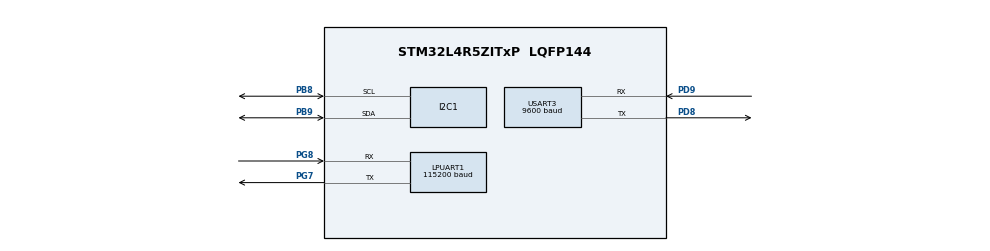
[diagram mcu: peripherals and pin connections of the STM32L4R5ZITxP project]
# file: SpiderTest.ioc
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LPUART1.BaudRate=115200
LPUART1.WordLength=UART_WORDLENGTH_8B
Mcu.Family=STM32L4
Mcu.Name=STM32L4R5ZITxP
Mcu.Package=LQFP144
NVIC.PriorityGroup=NVIC_PRIORITYGROUP_4
NVIC.TIM1_UP_TIM16_IRQn=true\:0\:0\:false\:false\:true\:true\:true\:true
PA0.Signal=S_TIM2_CH1
PA1.Signal=ADCx_IN6
PA10.Signal=USB_OTG_FS_ID
PA13\ (JTMS/SWDIO).Signal=SYS_JTMS-SWDIO
PA14\ (JTCK/SWCLK).Signal=SYS_JTCK-SWCLK
PA3.Signal=ADCx_IN8
PA4.Signal=SPI1_NSS
PA5.Signal=SPI1_SCK
PA6.Signal=SPI1_MISO
PA7.Signal=SPI1_MOSI
PA8.Signal=USB_OTG_FS_SOF
PA9.Signal=USB_OTG_FS_VBUS
PB0.Signal=S_TIM3_CH3
PB1.Signal=ADCx_IN16
PB10.Signal=S_TIM2_CH3
PB12.Signal=SAI2_FS_A
PB13.Signal=SAI2_SCK_A
PB14.Signal=S_TIM15_CH1
PB15.Signal=SAI2_SD_A
PB2.Signal=COMP1_INP
PB3\ (JTDO/TRACESWO).Signal=SPI3_SCK
PB4\ (NJTRST).Signal=SPI3_MISO
PB5.Signal=SPI3_MOSI
PB6.Signal=COMP2_INP
PB8.Mode=I2C
PB8.Signal=I2C1_SCL
PB9.Mode=I2C
PB9.Signal=I2C1_SDA
PC0.Signal=ADCx_IN1
PC1.Signal=ADCx_IN2
PC10.Signal=SDMMC1_D2
PC11.Signal=SDMMC1_D3
PC12.Signal=SDMMC1_CK
PC13.Signal=SYS_WKUP2
PC14-OSC32_IN\ (PC14).Signal=RCC_OSC32_IN
PC15-OSC32_OUT\ (PC15).Signal=RCC_OSC32_OUT
PC2.Signal=ADCx_IN3
PC3.Signal=ADCx_IN4
PC4.Signal=ADCx_IN13
PC5.Signal=ADCx_IN14
PC6.Signal=SAI2_MCLK_A
PC7.Signal=S_TIM3_CH2
PC8.Signal=SDMMC1_D0
PC9.Signal=SDMMC1_D1
PD0.Signal=CAN1_RX
PD14.Signal=S_TIM4_CH3
PD15.Signal=S_TIM4_CH4
PD2.Signal=SDMMC1_CMD
PD3.Signal=USART2_CTS
PD4.Signal=USART2_RTS
PD5.Signal=USART2_TX
PD6.Signal=USART2_RX
PD8.Mode=Asynchronous
PD8.Signal=USART3_TX
PD9.Mode=Asynchronous
PD9.Signal=USART3_RX
PE0.Signal=S_TIM4_ETR
PE10.Signal=TIM1_CH2N
PE11.Signal=S_TIM1_CH2
PE12.Signal=TIM1_CH3N
PE13.Signal=S_TIM1_CH3
PE14.Signal=TIM1_BKIN2
PE15.Signal=TIM1_BKIN
PE2.Signal=SAI1_MCLK_A
PE3.Signal=SAI1_SD_B
PE7.Signal=S_TIM1_ETR
PE8.Signal=TIM1_CH1N
PE9.Signal=S_TIM1_CH1
PF0.Signal=I2C2_SDA
PF1.Signal=I2C2_SCL
PF2.Signal=I2C2_SMBA
PF7.Signal=SAI1_MCLK_B
PG7.Mode=Asynchronous
PG7.Signal=LPUART1_TX
PG8.Mode=Asynchronous
PG8.Signal=LPUART1_RX
PH0-OSC_IN\ (PH0).Mode=HSE-External-Oscillator
PH0-OSC_IN\ (PH0).Signal=RCC_OSC_IN
PH1-OSC_OUT\ (PH1).Mode=HSE-External-Oscillator
PH1-OSC_OUT\ (PH1).Signal=RCC_OSC_OUT
ProjectManager.HeapSize=0x200
ProjectManager.StackSize=0x400
ProjectManager.TargetToolchain=STM32CubeIDE
RCC.HSE_VALUE=8000000
RCC.HSI48_VALUE=48000000
RCC.HSI_VALUE=16000000
RCC.LSE_VALUE=32768
RCC.MSI_VALUE=4000000
RCC.VCOOutputFreq_Value=32000000
SH.ADCx_IN1.0=ADC1_IN1
SH.ADCx_IN13.0=ADC1_IN13
SH.ADCx_IN14.0=ADC1_IN14
SH.ADCx_IN16.0=ADC1_IN16
SH.ADCx_IN2.0=ADC1_IN2
SH.ADCx_IN3.0=ADC1_IN3
SH.ADCx_IN4.0=ADC1_IN4
SH.ADCx_IN6.0=ADC1_IN6
SH.ADCx_IN8.0=ADC1_IN8
SH.S_TIM15_CH1.0=TIM15_CH1
SH.S_TIM1_CH1.0=TIM1_CH1
SH.S_TIM1_CH2.0=TIM1_CH2
SH.S_TIM1_CH3.0=TIM1_CH3
SH.S_TIM1_ETR.0=TIM1_ETR
SH.S_TIM2_CH1.0=TIM2_CH1
SH.S_TIM2_CH3.0=TIM2_CH3
SH.S_TIM3_CH2.0=TIM3_CH2
SH.S_TIM3_CH3.0=TIM3_CH3
SH.S_TIM4_CH3.0=TIM4_CH3
SH.S_TIM4_CH4.0=TIM4_CH4
SH.S_TIM4_ETR.0=TIM4_ETR
TIM16.Period=1000
TIM16.Prescaler=39999
USART3.BaudRate=9600
USART3.FIFOMode=FIFOMODE_ENABLE
USART3.VirtualMode-Asynchronous=VM_ASYNC
VP_TIM16_VS_ClockSourceINT.Mode=Enable_Timer
board=NUCLEO-L4R5ZI-P

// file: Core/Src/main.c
/* USER CODE BEGIN Header */
/**
  ******************************************************************************
  * @file           : main.c
  * @brief          : Main program body
  ******************************************************************************
  * @attention
  *
  * Copyright (c) 2024 STMicroelectronics.
  * All rights reserved.
  *
  * This software is licensed under terms that can be found in the LICENSE file
  * in the root directory of this software component.
  * If no LICENSE file comes with this software, it is provided AS-IS.
  *
  ******************************************************************************
  */
/* USER CODE END Header */
#include "main.h"

/* USER CODE BEGIN Includes */
#include "stdio.h"
#include <Controller.h>

/* USER CODE END Includes */

I2C_HandleTypeDef hi2c1;

UART_HandleTypeDef hlpuart1;
UART_HandleTypeDef huart3;

TIM_HandleTypeDef htim16;

/* USER CODE BEGIN PV *

/* USER CODE END PV */

void SystemClock_Config(void);
static void MX_GPIO_Init(void);
static void MX_I2C1_Init(void);
static void MX_LPUART1_UART_Init(void);
static void MX_USART3_UART_Init(void);
static void MX_TIM16_Init(void);

int main(void)
{

  /* MCU Configuration--------------------------------------------------------*/

  /* Reset of all peripherals, Initializes the Flash interface and the Systick. */
  HAL_Init();

  /* Configure the system clock */
  SystemClock_Config();

  /* Initialize all configured peripherals */
  MX_GPIO_Init();
  MX_I2C1_Init();
  MX_LPUART1_UART_Init();
  MX_USART3_UART_Init();
  MX_TIM16_Init();
  /* USER CODE BEGIN 2 */

  // IMU INIT

  #define SAD_W_A 0x32
  #define SAD_R_A 0x33
  uint8_t OUT_X_H_A = 0x29;
  uint8_t OUT_X_L_A = 0x28;
  uint8_t OUT_Y_H_A=0x2B;
  uint8_t OUT_Y_L_A=0x2A;
  uint8_t OUT_Z_H_A=0x2D;
  uint8_t OUT_Z_L_A=0x2C;
  uint8_t CTRL_REG1_A = 0b0100000;
  uint8_t buf_en[10] = {CTRL_REG1_A, 0x97};

  // IMU INIT END

  // SERVO CONTROLLER INIT

  reset(&hi2c1, PCA1);
  reset(&hi2c1, PCA2);

  setPWMFreq(&hi2c1, PCA1);
  setPWMFreq(&hi2c1, PCA2);
  HAL_TIM_Base_Start_IT(&htim16);

  init(&hi2c1);

  //uint8_t devAddr = PCA1 << 1;

//  printf("\n\n\n\n\n");
//  printf("Test: %d\n", readI2CByte(devAddr, MODE1));
//  printf("Start: %d\n", readI2CByte(devAddr, 0x7));
//  printf("Start: %d\n", readI2CByte(devAddr, 0x8));
//  printf("Start: %d\n", readI2CByte(devAddr, 0x9));

//  writePWMDutyCycle(0, lowerLeg);
//  writePWMDutyCycle(1, lowerLeg);
//  writePWMDutyCycle(2, lowerLeg);
//  writePWMDutyCycle(3, lowerLeg);
//  writePWMDutyCycle(4, lowerLeg);
//  writePWMDutyCycle(5, lowerLeg);
//  writePWMDutyCycle(6, upperLeg);
//  writePWMDutyCycle(7, upperLeg);
//  writePWMDutyCycle(8, upperLeg);
//  writePWMDutyCycle(9, upperLeg + 5.0);
//  writePWMDutyCycle(10, upperLeg + 5.0);
//  writePWMDutyCycle(11, upperLeg + 5.0);
  //writePWMDutyCycle(, lowerLeg);

  //setServoAngle(10, 0);

//  printf("After: %d\n", readI2CByte(devAddr, 0x6));
//    printf("After: %d\n", readI2CByte(devAddr, 0x7));
//    printf("After: %d\n", readI2CByte(devAddr, 0x8));
//    printf("After: %d\n", readI2CByte(devAddr, 0x9));

  /* USER CODE END 2 */

  /* Infinite loop */
  /* USER CODE BEGIN WHILE */

//  float upperDiff = 0;
//  float lowerDiff = 0;

//  uint8_t walkingStage = 0;
//  uint8_t moveOS = 0;

  //float test = -45.0;

  //uint32_t counterVal = 25;

//  uint8_t stop = 0;
//  uint8_t stopCt = 0;

  static int en_reads = 0;
  en_reads = HAL_I2C_Master_Transmit(&hi2c1, SAD_W_A, &buf_en[0], 2, 1000);
  en_reads = HAL_I2C_Master_Transmit(&hi2c1, SAD_W_A, &buf_en[0], 1, 1000);
  en_reads =  HAL_I2C_Master_Receive(&hi2c1, SAD_R_A, &buf_en[0], 1, 1000);

  while (1)
  {
//	uint8_t rx_buff[4] = {0, 0, 0, 0};
//	uint8_t data = 0;

	controllerInput((stop ? 128 : 255) , 128); // PARAMETERS: FORWARD/BACKWARD JOYSTICK, LEFT/RIGHT JOYSTICK
	// NOTE : ONLY THE WALKING FORWARD AND STOPPING CODE IS WRITTEN (KIND OF)

	HAL_Delay(1000);

	uint8_t buf_X_H_A[10] = {OUT_X_H_A};
	en_reads = HAL_I2C_Master_Transmit(&hi2c1, SAD_W_A, &buf_X_H_A[0], 1, 1000);
	en_reads =  HAL_I2C_Master_Receive(&hi2c1, SAD_R_A, &buf_X_H_A[0], 1, 1000);

	uint8_t buf_X_L_A[10] = {OUT_X_L_A};
	en_reads = HAL_I2C_Master_Transmit(&hi2c1, SAD_W_A, &buf_X_L_A[0], 1, 1000);
	en_reads =  HAL_I2C_Master_Receive(&hi2c1, SAD_R_A, &buf_X_L_A[0], 1, 1000);

	uint8_t buf_Y_H_A[10] = {OUT_Y_H_A};
	en_reads = HAL_I2C_Master_Transmit(&hi2c1, SAD_W_A, &buf_Y_H_A[0], 1, 1000);
	en_reads =  HAL_I2C_Master_Receive(&hi2c1, SAD_R_A, &buf_Y_H_A[0], 1, 1000);

	uint8_t buf_Y_L_A[10] = {OUT_Y_L_A};
	en_reads = HAL_I2C_Master_Transmit(&hi2c1, SAD_W_A, &buf_Y_L_A[0], 1, 1000);
	en_reads =  HAL_I2C_Master_Receive(&hi2c1, SAD_R_A, &buf_Y_L_A[0], 1, 1000);

	uint8_t buf_Z_H_A[10] = {OUT_Z_H_A};
	en_reads = HAL_I2C_Master_Transmit(&hi2c1, SAD_W_A, &buf_Z_H_A[0], 1, 1000);
	en_reads =  HAL_I2C_Master_Receive(&hi2c1, SAD_R_A, &buf_Z_H_A[0], 1, 1000);

	uint8_t buf_Z_L_A[10] = {OUT_Z_L_A};
	en_reads = HAL_I2C_Master_Transmit(&hi2c1, SAD_W_A, &buf_Z_L_A[0], 1, 1000);
	en_reads =  HAL_I2C_Master_Receive(&hi2c1, SAD_R_A, &buf_Z_L_A[0], 1, 1000);

	int16_t zRaw = (buf_Z_H_A[0] << 8) | buf_Z_L_A[0];

	uint8_t buffer[2] = {buf_Z_H_A[0], buf_Z_L_A[0]};
	HAL_UART_Transmit(&huart3, &buffer, 2, 1000);

	printf("z axis raw: %d z axis scaled: %f g\n\n", zRaw, (float)zRaw/0x4000);

// TESTING CODE
//	stopCt++;
//
//	if(stopCt > 100)
//	{
//		if(!stop)
//			stop = 1;
//		else
//			stop = 0;
//
//		stopCt = 0;
//	}

	// PAIRS: 12|15, 13|16, 14|17

	// FIRST TRY AT TRIPOD GAIT. MAYBE RETRY LATER

	/*if(walkingStage == 0)
	{
		if(!moveOS)
		{
			// Lifted Leg Hip
			setServoAngle(15, 0.0);
			setServoAngle(13, -20.0);
			setServoAngle(17, 30.0);

			// Dropped Leg Hip
			setServoAngle(12, 0.0);
			setServoAngle(16, -20.0);
			setServoAngle(14, 30.0);

			TIM16->CNT = 0;
			moveOS = 1;
		}

		if(TIM16->CNT > 15)
		{
			// Drop Legs
			setServoAngle(7, -30.0);
			setServoAngle(9, 30.0);
			setServoAngle(11, 30.0);

			setServoAngle(1, 0.0);
			setServoAngle(3, 0.0);
			setServoAngle(5, 0.0);
		}
		else
		{
			// Lift Legs
			setServoAngle(7, 0.0);
			setServoAngle(9, 0.0);
			setServoAngle(11, 0.0);

			setServoAngle(1, 30.0);
			setServoAngle(3, -30.0);
			setServoAngle(5, -30.0);
		}

		if(TIM16->CNT > 30)
		{
			moveOS = 0;
			walkingStage = 1;
		}
	}
	else
	{
		if(!moveOS)
			{
				// Dropped Leg Hip
				setServoAngle(15, -30.0);
				setServoAngle(13, 20.0);
				setServoAngle(17, 0.0);

				// Lifted Leg Hip
				setServoAngle(12, -30.0);
				setServoAngle(16, 20.0);
				setServoAngle(14, 0.0);

				TIM16->CNT = 0;
				moveOS = 1;
			}

			if(TIM16->CNT > 15)
			{
				// Drop Legs
				setServoAngle(6, -30.0);
				setServoAngle(8, -30.0);
				setServoAngle(10, 30.0);

				setServoAngle(0, 0.0);
				setServoAngle(2, 0.0);
				setServoAngle(4, 0.0);
			}
			else
			{
				// Lift Legs
				setServoAngle(6, 0.0);
				setServoAngle(8, 0.0);
				setServoAngle(10, 0.0);

				setServoAngle(0, 30.0);
				setServoAngle(2, 30.0);
				setServoAngle(4, -30.0);
			}

			if(TIM16->CNT > 30)
			{
				moveOS = 0;
				walkingStage = 0;
			}
	}*/
    /* USER CODE END WHILE */

  }
}

void SystemClock_Config(void)
{
  RCC_OscInitTypeDef RCC_OscInitStruct = {0};
  RCC_ClkInitTypeDef RCC_ClkInitStruct = {0};

  /** Configure the main internal regulator output voltage
  */
  if (HAL_PWREx_ControlVoltageScaling(PWR_REGULATOR_VOLTAGE_SCALE1) != HAL_OK)
  {
    Error_Handler();
  }

  /** Initializes the RCC Oscillators according to the specified parameters
  * in the RCC_OscInitTypeDef structure.
  */
  RCC_OscInitStruct.OscillatorType = RCC_OSCILLATORTYPE_MSI;
  RCC_OscInitStruct.MSIState = RCC_MSI_ON;
  RCC_OscInitStruct.MSICalibrationValue = 0;
  RCC_OscInitStruct.MSIClockRange = RCC_MSIRANGE_6;
  RCC_OscInitStruct.PLL.PLLState = RCC_PLL_NONE;
  if (HAL_RCC_OscConfig(&RCC_OscInitStruct) != HAL_OK)
  {
    Error_Handler();
  }

  /** Initializes the CPU, AHB and APB buses clocks
  */
  RCC_ClkInitStruct.ClockType = RCC_CLOCKTYPE_HCLK|RCC_CLOCKTYPE_SYSCLK
                              |RCC_CLOCKTYPE_PCLK1|RCC_CLOCKTYPE_PCLK2;
  RCC_ClkInitStruct.SYSCLKSource = RCC_SYSCLKSOURCE_MSI;
  RCC_ClkInitStruct.AHBCLKDivider = RCC_SYSCLK_DIV1;
  RCC_ClkInitStruct.APB1CLKDivider = RCC_HCLK_DIV1;
  RCC_ClkInitStruct.APB2CLKDivider = RCC_HCLK_DIV1;

  if (HAL_RCC_ClockConfig(&RCC_ClkInitStruct, FLASH_LATENCY_0) != HAL_OK)
  {
    Error_Handler();
  }
}

static void MX_I2C1_Init(void)
{

  hi2c1.Instance = I2C1;
  hi2c1.Init.Timing = 0x00000E14;
  hi2c1.Init.OwnAddress1 = 0;
  hi2c1.Init.AddressingMode = I2C_ADDRESSINGMODE_7BIT;
  hi2c1.Init.DualAddressMode = I2C_DUALADDRESS_DISABLE;
  hi2c1.Init.OwnAddress2 = 0;
  hi2c1.Init.OwnAddress2Masks = I2C_OA2_NOMASK;
  hi2c1.Init.GeneralCallMode = I2C_GENERALCALL_DISABLE;
  hi2c1.Init.NoStretchMode = I2C_NOSTRETCH_DISABLE;
  if (HAL_I2C_Init(&hi2c1) != HAL_OK)
  {
    Error_Handler();
  }

  /** Configure Analogue filter
  */
  if (HAL_I2CEx_ConfigAnalogFilter(&hi2c1, I2C_ANALOGFILTER_ENABLE) != HAL_OK)
  {
    Error_Handler();
  }

  /** Configure Digital filter
  */
  if (HAL_I2CEx_ConfigDigitalFilter(&hi2c1, 0) != HAL_OK)
  {
    Error_Handler();
  }

}

static void MX_LPUART1_UART_Init(void)
{

  hlpuart1.Instance = LPUART1;
  hlpuart1.Init.BaudRate = 115200;
  hlpuart1.Init.WordLength = UART_WORDLENGTH_8B;
  hlpuart1.Init.StopBits = UART_STOPBITS_1;
  hlpuart1.Init.Parity = UART_PARITY_NONE;
  hlpuart1.Init.Mode = UART_MODE_TX_RX;
  hlpuart1.Init.HwFlowCtl = UART_HWCONTROL_NONE;
  hlpuart1.Init.OneBitSampling = UART_ONE_BIT_SAMPLE_DISABLE;
  hlpuart1.Init.ClockPrescaler = UART_PRESCALER_DIV1;
  hlpuart1.AdvancedInit.AdvFeatureInit = UART_ADVFEATURE_NO_INIT;
  hlpuart1.FifoMode = UART_FIFOMODE_DISABLE;
  if (HAL_UART_Init(&hlpuart1) != HAL_OK)
  {
    Error_Handler();
  }
  if (HAL_UARTEx_SetTxFifoThreshold(&hlpuart1, UART_TXFIFO_THRESHOLD_1_8) != HAL_OK)
  {
    Error_Handler();
  }
  if (HAL_UARTEx_SetRxFifoThreshold(&hlpuart1, UART_RXFIFO_THRESHOLD_1_8) != HAL_OK)
  {
    Error_Handler();
  }
  if (HAL_UARTEx_DisableFifoMode(&hlpuart1) != HAL_OK)
  {
    Error_Handler();
  }

}

static void MX_USART3_UART_Init(void)
{

  huart3.Instance = USART3;
  huart3.Init.BaudRate = 9600;
  huart3.Init.WordLength = UART_WORDLENGTH_8B;
  huart3.Init.StopBits = UART_STOPBITS_1;
  huart3.Init.Parity = UART_PARITY_NONE;
  huart3.Init.Mode = UART_MODE_TX_RX;
  huart3.Init.HwFlowCtl = UART_HWCONTROL_NONE;
  huart3.Init.OverSampling = UART_OVERSAMPLING_16;
  huart3.Init.OneBitSampling = UART_ONE_BIT_SAMPLE_DISABLE;
  huart3.Init.ClockPrescaler = UART_PRESCALER_DIV1;
  huart3.AdvancedInit.AdvFeatureInit = UART_ADVFEATURE_NO_INIT;
  if (HAL_UART_Init(&huart3) != HAL_OK)
  {
    Error_Handler();
  }
  if (HAL_UARTEx_SetTxFifoThreshold(&huart3, UART_TXFIFO_THRESHOLD_1_8) != HAL_OK)
  {
    Error_Handler();
  }
  if (HAL_UARTEx_SetRxFifoThreshold(&huart3, UART_RXFIFO_THRESHOLD_1_8) != HAL_OK)
  {
    Error_Handler();
  }
  if (HAL_UARTEx_EnableFifoMode(&huart3) != HAL_OK)
  {
    Error_Handler();
  }

}

static void MX_TIM16_Init(void)
{

  htim16.Instance = TIM16;
  htim16.Init.Prescaler = 39999;
  htim16.Init.CounterMode = TIM_COUNTERMODE_UP;
  htim16.Init.Period = 1000;
  htim16.Init.ClockDivision = TIM_CLOCKDIVISION_DIV1;
  htim16.Init.RepetitionCounter = 0;
  htim16.Init.AutoReloadPreload = TIM_AUTORELOAD_PRELOAD_DISABLE;
  if (HAL_TIM_Base_Init(&htim16) != HAL_OK)
  {
    Error_Handler();
  }

}

static void MX_GPIO_Init(void)
{
  GPIO_InitTypeDef GPIO_InitStruct = {0};

  /* GPIO Ports Clock Enable */
  __HAL_RCC_GPIOE_CLK_ENABLE();
  __HAL_RCC_GPIOC_CLK_ENABLE();
  __HAL_RCC_GPIOF_CLK_ENABLE();
  __HAL_RCC_GPIOH_CLK_ENABLE();
  __HAL_RCC_GPIOA_CLK_ENABLE();
  __HAL_RCC_GPIOB_CLK_ENABLE();
  __HAL_RCC_GPIOD_CLK_ENABLE();
  __HAL_RCC_GPIOG_CLK_ENABLE();
  HAL_PWREx_EnableVddIO2();

  /*Configure GPIO pins : PE2 PE3 */
  GPIO_InitStruct.Pin = GPIO_PIN_2|GPIO_PIN_3;
  GPIO_InitStruct.Mode = GPIO_MODE_AF_PP;
  GPIO_InitStruct.Pull = GPIO_NOPULL;
  GPIO_InitStruct.Speed = GPIO_SPEED_FREQ_LOW;
  GPIO_InitStruct.Alternate = GPIO_AF13_SAI1;
  HAL_GPIO_Init(GPIOE, &GPIO_InitStruct);

  /*Configure GPIO pins : PF0 PF1 PF2 */
  GPIO_InitStruct.Pin = GPIO_PIN_0|GPIO_PIN_1|GPIO_PIN_2;
  GPIO_InitStruct.Mode = GPIO_MODE_AF_OD;
  GPIO_InitStruct.Pull = GPIO_NOPULL;
  GPIO_InitStruct.Speed = GPIO_SPEED_FREQ_VERY_HIGH;
  GPIO_InitStruct.Alternate = GPIO_AF4_I2C2;
  HAL_GPIO_Init(GPIOF, &GPIO_InitStruct);

  /*Configure GPIO pin : PF7 */
  GPIO_InitStruct.Pin = GPIO_PIN_7;
  GPIO_InitStruct.Mode = GPIO_MODE_AF_PP;
  GPIO_InitStruct.Pull = GPIO_NOPULL;
  GPIO_InitStruct.Speed = GPIO_SPEED_FREQ_LOW;
  GPIO_InitStruct.Alternate = GPIO_AF13_SAI1;
  HAL_GPIO_Init(GPIOF, &GPIO_InitStruct);

  /*Configure GPIO pins : PC0 PC1 PC2 PC3
                           PC4 PC5 */
  GPIO_InitStruct.Pin = GPIO_PIN_0|GPIO_PIN_1|GPIO_PIN_2|GPIO_PIN_3
                          |GPIO_PIN_4|GPIO_PIN_5;
  GPIO_InitStruct.Mode = GPIO_MODE_ANALOG_ADC_CONTROL;
  GPIO_InitStruct.Pull = GPIO_NOPULL;
  HAL_GPIO_Init(GPIOC, &GPIO_InitStruct);

  /*Configure GPIO pin : PA0 */
  GPIO_InitStruct.Pin = GPIO_PIN_0;
  GPIO_InitStruct.Mode = GPIO_MODE_AF_PP;
  GPIO_InitStruct.Pull = GPIO_NOPULL;
  GPIO_InitStruct.Speed = GPIO_SPEED_FREQ_LOW;
  GPIO_InitStruct.Alternate = GPIO_AF1_TIM2;
  HAL_GPIO_Init(GPIOA, &GPIO_InitStruct);

  /*Configure GPIO pins : PA1 PA3 */
  GPIO_InitStruct.Pin = GPIO_PIN_1|GPIO_PIN_3;
  GPIO_InitStruct.Mode = GPIO_MODE_ANALOG_ADC_CONTROL;
  GPIO_InitStruct.Pull = GPIO_NOPULL;
  HAL_GPIO_Init(GPIOA, &GPIO_InitStruct);

  /*Configure GPIO pins : PA4 PA5 PA6 PA7 */
  GPIO_InitStruct.Pin = GPIO_PIN_4|GPIO_PIN_5|GPIO_PIN_6|GPIO_PIN_7;
  GPIO_InitStruct.Mode = GPIO_MODE_AF_PP;
  GPIO_InitStruct.Pull = GPIO_NOPULL;
  GPIO_InitStruct.Speed = GPIO_SPEED_FREQ_VERY_HIGH;
  GPIO_InitStruct.Alternate = GPIO_AF5_SPI1;
  HAL_GPIO_Init(GPIOA, &GPIO_InitStruct);

  /*Configure GPIO pin : PB0 */
  GPIO_InitStruct.Pin = GPIO_PIN_0;
  GPIO_InitStruct.Mode = GPIO_MODE_AF_PP;
  GPIO_InitStruct.Pull = GPIO_NOPULL;
  GPIO_InitStruct.Speed = GPIO_SPEED_FREQ_LOW;
  GPIO_InitStruct.Alternate = GPIO_AF2_TIM3;
  HAL_GPIO_Init(GPIOB, &GPIO_InitStruct);

  /*Configure GPIO pin : PB1 */
  GPIO_InitStruct.Pin = GPIO_PIN_1;
  GPIO_InitStruct.Mode = GPIO_MODE_ANALOG_ADC_CONTROL;
  GPIO_InitStruct.Pull = GPIO_NOPULL;
  HAL_GPIO_Init(GPIOB, &GPIO_InitStruct);

  /*Configure GPIO pins : PB2 PB6 */
  GPIO_InitStruct.Pin = GPIO_PIN_2|GPIO_PIN_6;
  GPIO_InitStruct.Mode = GPIO_MODE_ANALOG;
  GPIO_InitStruct.Pull = GPIO_NOPULL;
  HAL_GPIO_Init(GPIOB, &GPIO_InitStruct);

  /*Configure GPIO pins : PE7 PE8 PE9 PE10
                           PE11 PE12 PE13 */
  GPIO_InitStruct.Pin = GPIO_PIN_7|GPIO_PIN_8|GPIO_PIN_9|GPIO_PIN_10
                          |GPIO_PIN_11|GPIO_PIN_12|GPIO_PIN_13;
  GPIO_InitStruct.Mode = GPIO_MODE_AF_PP;
  GPIO_InitStruct.Pull = GPIO_NOPULL;
  GPIO_InitStruct.Speed = GPIO_SPEED_FREQ_LOW;
  GPIO_InitStruct.Alternate = GPIO_AF1_TIM1;
  HAL_GPIO_Init(GPIOE, &GPIO_InitStruct);

  /*Configure GPIO pins : PE14 PE15 */
  GPIO_InitStruct.Pin = GPIO_PIN_14|GPIO_PIN_15;
  GPIO_InitStruct.Mode = GPIO_MODE_AF_PP;
  GPIO_InitStruct.Pull = GPIO_NOPULL;
  GPIO_InitStruct.Speed = GPIO_SPEED_FREQ_LOW;
  GPIO_InitStruct.Alternate = GPIO_AF3_TIM1_COMP1;
  HAL_GPIO_Init(GPIOE, &GPIO_InitStruct);

  /*Configure GPIO pin : PB10 */
  GPIO_InitStruct.Pin = GPIO_PIN_10;
  GPIO_InitStruct.Mode = GPIO_MODE_AF_PP;
  GPIO_InitStruct.Pull = GPIO_NOPULL;
  GPIO_InitStruct.Speed = GPIO_SPEED_FREQ_LOW;
  GPIO_InitStruct.Alternate = GPIO_AF1_TIM2;
  HAL_GPIO_Init(GPIOB, &GPIO_InitStruct);

  /*Configure GPIO pins : PB12 PB13 PB15 */
  GPIO_InitStruct.Pin = GPIO_PIN_12|GPIO_PIN_13|GPIO_PIN_15;
  GPIO_InitStruct.Mode = GPIO_MODE_AF_PP;
  GPIO_InitStruct.Pull = GPIO_NOPULL;
  GPIO_InitStruct.Speed = GPIO_SPEED_FREQ_LOW;
  GPIO_InitStruct.Alternate = GPIO_AF13_SAI2;
  HAL_GPIO_Init(GPIOB, &GPIO_InitStruct);

  /*Configure GPIO pin : PB14 */
  GPIO_InitStruct.Pin = GPIO_PIN_14;
  GPIO_InitStruct.Mode = GPIO_MODE_AF_PP;
  GPIO_InitStruct.Pull = GPIO_NOPULL;
  GPIO_InitStruct.Speed = GPIO_SPEED_FREQ_LOW;
  GPIO_InitStruct.Alternate = GPIO_AF14_TIM15;
  HAL_GPIO_Init(GPIOB, &GPIO_InitStruct);

  /*Configure GPIO pins : PD14 PD15 */
  GPIO_InitStruct.Pin = GPIO_PIN_14|GPIO_PIN_15;
  GPIO_InitStruct.Mode = GPIO_MODE_AF_PP;
  GPIO_InitStruct.Pull = GPIO_NOPULL;
  GPIO_InitStruct.Speed = GPIO_SPEED_FREQ_LOW;
  GPIO_InitStruct.Alternate = GPIO_AF2_TIM4;
  HAL_GPIO_Init(GPIOD, &GPIO_InitStruct);

  /*Configure GPIO pin : PC6 */
  GPIO_InitStruct.Pin = GPIO_PIN_6;
  GPIO_InitStruct.Mode = GPIO_MODE_AF_PP;
  GPIO_InitStruct.Pull = GPIO_NOPULL;
  GPIO_InitStruct.Speed = GPIO_SPEED_FREQ_LOW;
  GPIO_InitStruct.Alternate = GPIO_AF13_SAI2;
  HAL_GPIO_Init(GPIOC, &GPIO_InitStruct);

  /*Configure GPIO pin : PC7 */
  GPIO_InitStruct.Pin = GPIO_PIN_7;
  GPIO_InitStruct.Mode = GPIO_MODE_AF_PP;
  GPIO_InitStruct.Pull = GPIO_NOPULL;
  GPIO_InitStruct.Speed = GPIO_SPEED_FREQ_LOW;
  GPIO_InitStruct.Alternate = GPIO_AF2_TIM3;
  HAL_GPIO_Init(GPIOC, &GPIO_InitStruct);

  /*Configure GPIO pins : PC8 PC9 PC10 PC11
                           PC12 */
  GPIO_InitStruct.Pin = GPIO_PIN_8|GPIO_PIN_9|GPIO_PIN_10|GPIO_PIN_11
                          |GPIO_PIN_12;
  GPIO_InitStruct.Mode = GPIO_MODE_AF_PP;
  GPIO_InitStruct.Pull = GPIO_NOPULL;
  GPIO_InitStruct.Speed = GPIO_SPEED_FREQ_VERY_HIGH;
  GPIO_InitStruct.Alternate = GPIO_AF12_SDMMC1;
  HAL_GPIO_Init(GPIOC, &GPIO_InitStruct);

  /*Configure GPIO pins : PA8 PA10 */
  GPIO_InitStruct.Pin = GPIO_PIN_8|GPIO_PIN_10;
  GPIO_InitStruct.Mode = GPIO_MODE_AF_PP;
  GPIO_InitStruct.Pull = GPIO_NOPULL;
  GPIO_InitStruct.Speed = GPIO_SPEED_FREQ_VERY_HIGH;
  GPIO_InitStruct.Alternate = GPIO_AF10_OTG_FS;
  HAL_GPIO_Init(GPIOA, &GPIO_InitStruct);

  /*Configure GPIO pin : PA9 */
  GPIO_InitStruct.Pin = GPIO_PIN_9;
  GPIO_InitStruct.Mode = GPIO_MODE_INPUT;
  GPIO_InitStruct.Pull = GPIO_NOPULL;
  HAL_GPIO_Init(GPIOA, &GPIO_InitStruct);

  /*Configure GPIO pin : PD0 */
  GPIO_InitStruct.Pin = GPIO_PIN_0;
  GPIO_InitStruct.Mode = GPIO_MODE_AF_PP;
  GPIO_InitStruct.Pull = GPIO_NOPULL;
  GPIO_InitStruct.Speed = GPIO_SPEED_FREQ_VERY_HIGH;
  GPIO_InitStruct.Alternate = GPIO_AF9_CAN1;
  HAL_GPIO_Init(GPIOD, &GPIO_InitStruct);

  /*Configure GPIO pin : PD2 */
  GPIO_InitStruct.Pin = GPIO_PIN_2;
  GPIO_InitStruct.Mode = GPIO_MODE_AF_PP;
  GPIO_InitStruct.Pull = GPIO_NOPULL;
  GPIO_InitStruct.Speed = GPIO_SPEED_FREQ_VERY_HIGH;
  GPIO_InitStruct.Alternate = GPIO_AF12_SDMMC1;
  HAL_GPIO_Init(GPIOD, &GPIO_InitStruct);

  /*Configure GPIO pins : PD3 PD4 PD5 PD6 */
  GPIO_InitStruct.Pin = GPIO_PIN_3|GPIO_PIN_4|GPIO_PIN_5|GPIO_PIN_6;
  GPIO_InitStruct.Mode = GPIO_MODE_AF_PP;
  GPIO_InitStruct.Pull = GPIO_NOPULL;
  GPIO_InitStruct.Speed = GPIO_SPEED_FREQ_VERY_HIGH;
  GPIO_InitStruct.Alternate = GPIO_AF7_USART2;
  HAL_GPIO_Init(GPIOD, &GPIO_InitStruct);

  /*Configure GPIO pins : PB3 PB4 PB5 */
  GPIO_InitStruct.Pin = GPIO_PIN_3|GPIO_PIN_4|GPIO_PIN_5;
  GPIO_InitStruct.Mode = GPIO_MODE_AF_PP;
  GPIO_InitStruct.Pull = GPIO_NOPULL;
  GPIO_InitStruct.Speed = GPIO_SPEED_FREQ_VERY_HIGH;
  GPIO_InitStruct.Alternate = GPIO_AF6_SPI3;
  HAL_GPIO_Init(GPIOB, &GPIO_InitStruct);

  /*Configure GPIO pin : PE0 */
  GPIO_InitStruct.Pin = GPIO_PIN_0;
  GPIO_InitStruct.Mode = GPIO_MODE_AF_PP;
  GPIO_InitStruct.Pull = GPIO_NOPULL;
  GPIO_InitStruct.Speed = GPIO_SPEED_FREQ_LOW;
  GPIO_InitStruct.Alternate = GPIO_AF2_TIM4;
  HAL_GPIO_Init(GPIOE, &GPIO_InitStruct);

}

/* USER CODE BEGIN 4 */

#ifdef __GNUC__
#define PUTCHAR_PROTOTYPE int __io_putchar(int ch)
#else
  #define PUTCHAR_PROTOTYPE int fputc(int ch, FILE *f)
#endif /* __GNUC__ */
PUTCHAR_PROTOTYPE
{
  HAL_UART_Transmit(&hlpuart1, (uint8_t *)&ch, 1, 0xFFFF);
  return ch;
}

/* USER CODE END 4 */

void Error_Handler(void)
{
  __disable_irq();
  while (1)
  {
  }
}
